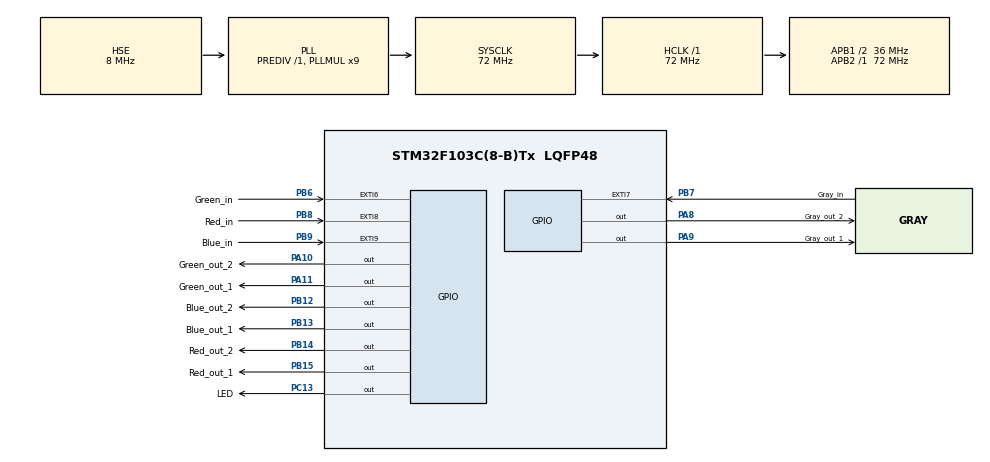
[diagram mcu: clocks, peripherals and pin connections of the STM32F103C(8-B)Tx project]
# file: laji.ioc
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Mcu.Family=STM32F1
Mcu.Name=STM32F103C(8-B)Tx
Mcu.Package=LQFP48
NVIC.EXTI9_5_IRQn=true\:0\:0\:false\:false\:true\:true\:true
NVIC.PriorityGroup=NVIC_PRIORITYGROUP_4
PA10.GPIO_Label=Green_out_2
PA10.Signal=GPIO_Output
PA11.GPIO_Label=Green_out_1
PA11.Signal=GPIO_Output
PA8.GPIO_Label=Gray_out_2
PA8.Signal=GPIO_Output
PA9.GPIO_Label=Gray_out_1
PA9.Signal=GPIO_Output
PB12.GPIO_Label=Blue_out_2
PB12.Signal=GPIO_Output
PB13.GPIO_Label=Blue_out_1
PB13.Signal=GPIO_Output
PB14.GPIO_Label=Red_out_2
PB14.Signal=GPIO_Output
PB15.GPIO_Label=Red_out_1
PB15.Signal=GPIO_Output
PB6.GPIO_Label=Green_in
PB6.Signal=GPXTI6
PB7.GPIO_Label=Gray_in
PB7.Signal=GPXTI7
PB8.GPIO_Label=Red_in
PB8.Signal=GPXTI8
PB9.GPIO_Label=Blue_in
PB9.Signal=GPXTI9
PC13-TAMPER-RTC.GPIO_Label=LED
PC13-TAMPER-RTC.Signal=GPIO_Output
PD0-OSC_IN.Mode=HSE-External-Oscillator
PD0-OSC_IN.Signal=RCC_OSC_IN
PD1-OSC_OUT.Mode=HSE-External-Oscillator
PD1-OSC_OUT.Signal=RCC_OSC_OUT
ProjectManager.HeapSize=0x200
ProjectManager.StackSize=0x400
ProjectManager.TargetToolchain=MDK-ARM V5
RCC.AHBFreq_Value=72000000
RCC.APB1CLKDivider=RCC_HCLK_DIV2
RCC.APB1Freq_Value=36000000
RCC.APB1TimFreq_Value=72000000
RCC.APB2Freq_Value=72000000
RCC.APB2TimFreq_Value=72000000
RCC.HCLKFreq_Value=72000000
RCC.PLLMUL=RCC_PLL_MUL9
RCC.PLLSourceVirtual=RCC_PLLSOURCE_HSE
RCC.SYSCLKFreq_VALUE=72000000
RCC.SYSCLKSource=RCC_SYSCLKSOURCE_PLLCLK
RCC.USBFreq_Value=72000000
VP_SYS_VS_ND.Mode=No_Debug
board=custom

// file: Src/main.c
/* USER CODE BEGIN Header */
/**
  ******************************************************************************
  * @file           : main.c
  * @brief          : Main program body
  ******************************************************************************
  * @attention
  *
  * <h2><center>&copy; Copyright (c) 2020 STMicroelectronics.
  * All rights reserved.</center></h2>
  *
  * This software component is licensed by ST under BSD 3-Clause license,
  * the "License"; You may not use this file except in compliance with the
  * License. You may obtain a copy of the License at:
  *                        opensource.org/licenses/BSD-3-Clause
  *
  ******************************************************************************
  */
/* USER CODE END Header */

#include "main.h"

/* USER CODE BEGIN PD */
#define STATUS_NULL 0
#define STATUS_OPEN 1
#define STATUS_OPENING 2
#define STATUS_OPENED 3
#define STATUS_CLOSE 4
#define STATUS_CLOSING 5
#define STATUS_CLOSED 6
#define STATUS_COUNTING 7
#define STATUS_COUNTED 8

#define OPEN_CNT 50
#define CLOSE_CNT 50
#define WAIT_CNT 5000

/* USER CODE END PD */

/* USER CODE BEGIN PV */
int green_status = STATUS_NULL;
int gray_status = STATUS_NULL;
int red_status = STATUS_NULL;
int blue_status = STATUS_NULL;

int green_open_cnt = 0;
int gray_open_cnt = 0;
int red_open_cnt = 0;
int blue_open_cnt = 0;

int green_wait_cnt = 0;
int gray_wait_cnt = 0;
int red_wait_cnt = 0;
int blue_wait_cnt = 0;

int green_close_cnt = 0;
int gray_close_cnt = 0;
int red_close_cnt = 0;
int blue_close_cnt = 0;
int can_control = 0;

/* USER CODE END PV */

void SystemClock_Config(void);
static void MX_GPIO_Init(void);

int main(void)
{
  /* USER CODE BEGIN 1 */
//	int led_cnt = 0;

  /* USER CODE END 1 */

  /* MCU Configuration--------------------------------------------------------*/

  /* Reset of all peripherals, Initializes the Flash interface and the Systick. */
  HAL_Init();

  /* Configure the system clock */
  SystemClock_Config();

  /* Initialize all configured peripherals */
  MX_GPIO_Init();
  /* USER CODE BEGIN 2 */
	HAL_Delay(1000);
		can_control = 1;

  /* USER CODE END 2 */

  /* Infinite loop */
  while (1)
  {

    /* USER CODE BEGIN 3 */

//		if (led_cnt++ >= 500)
//		{
//			led_cnt = 0;
//			//HAL_GPIO_TogglePin(LED_GPIO_Port,LED_Pin);
//		}
		//green
		HAL_Delay(1);
		if (green_status != STATUS_NULL)
		{
			if (green_status == STATUS_OPEN)
			{
				HAL_GPIO_WritePin(Green_out_1_GPIO_Port,Green_out_1_Pin,GPIO_PIN_SET);
				HAL_GPIO_WritePin(Green_out_2_GPIO_Port,Green_out_2_Pin,GPIO_PIN_RESET);
				green_status = STATUS_OPENING;
				green_open_cnt = 0;
			}else if (green_status == STATUS_OPENING)
			{
				if (green_open_cnt ++ >= OPEN_CNT)
				{
					green_status = STATUS_OPENED;
				}
			}else if (green_status == STATUS_OPENED)
			{
				HAL_GPIO_WritePin(Green_out_1_GPIO_Port,Green_out_1_Pin,GPIO_PIN_RESET);
				HAL_GPIO_WritePin(Green_out_2_GPIO_Port,Green_out_2_Pin,GPIO_PIN_RESET);
				green_status = STATUS_COUNTING;
				green_wait_cnt = 0;
			}else if (green_status == STATUS_COUNTING)
			{
				if (green_wait_cnt++ >= WAIT_CNT)
				{
					green_status = STATUS_COUNTED;
				}
			}else if (green_status == STATUS_COUNTED)
			{
				green_status = STATUS_CLOSE;
			}else if (green_status == STATUS_CLOSE)
			{
				HAL_GPIO_WritePin(Green_out_1_GPIO_Port,Green_out_1_Pin,GPIO_PIN_RESET);
				HAL_GPIO_WritePin(Green_out_2_GPIO_Port,Green_out_2_Pin,GPIO_PIN_SET);
				green_status = STATUS_CLOSING;
				green_close_cnt = 0;
			}else if (green_status == STATUS_CLOSING)
			{
				if (green_close_cnt++ > CLOSE_CNT)
				{
					green_status = STATUS_CLOSED;
				}
			}else if (green_status == STATUS_CLOSED)
			{
				HAL_GPIO_WritePin(Green_out_1_GPIO_Port,Green_out_1_Pin,GPIO_PIN_RESET);
				HAL_GPIO_WritePin(Green_out_2_GPIO_Port,Green_out_2_Pin,GPIO_PIN_RESET);
				green_status = STATUS_NULL;
			}
		}

		//gray

		if (gray_status != STATUS_NULL)
		{
			if (gray_status == STATUS_OPEN)
			{
				HAL_GPIO_WritePin(Gray_out_1_GPIO_Port,Gray_out_1_Pin,GPIO_PIN_SET);
				HAL_GPIO_WritePin(Gray_out_2_GPIO_Port,Gray_out_2_Pin,GPIO_PIN_RESET);
				gray_status = STATUS_OPENING;
				gray_open_cnt = 0;
			}else if (gray_status == STATUS_OPENING)
			{
				if (gray_open_cnt ++ >= OPEN_CNT)
				{
					gray_status = STATUS_OPENED;
				}
			}else if (gray_status == STATUS_OPENED)
			{
				HAL_GPIO_WritePin(Gray_out_1_GPIO_Port,Gray_out_1_Pin,GPIO_PIN_RESET);
				HAL_GPIO_WritePin(Gray_out_2_GPIO_Port,Gray_out_2_Pin,GPIO_PIN_RESET);
				gray_status = STATUS_COUNTING;
				gray_wait_cnt = 0;
			}else if (gray_status == STATUS_COUNTING)
			{
				if (gray_wait_cnt++ >= WAIT_CNT)
				{
					gray_status = STATUS_COUNTED;
				}
			}else if (gray_status == STATUS_COUNTED)
			{
				gray_status = STATUS_CLOSE;
			}else if (gray_status == STATUS_CLOSE)
			{
				HAL_GPIO_WritePin(Gray_out_1_GPIO_Port,Gray_out_1_Pin,GPIO_PIN_RESET);
				HAL_GPIO_WritePin(Gray_out_2_GPIO_Port,Gray_out_2_Pin,GPIO_PIN_SET);
				gray_status = STATUS_CLOSING;
				gray_close_cnt = 0;
			}else if (gray_status == STATUS_CLOSING)
			{
				if (gray_close_cnt++ > CLOSE_CNT)
				{
					gray_status = STATUS_CLOSED;
				}
			}else if (gray_status == STATUS_CLOSED)
			{
				HAL_GPIO_WritePin(Gray_out_1_GPIO_Port,Gray_out_1_Pin,GPIO_PIN_RESET);
				HAL_GPIO_WritePin(Gray_out_2_GPIO_Port,Gray_out_2_Pin,GPIO_PIN_RESET);
				gray_status = STATUS_NULL;
			}
		}
		// red
		if (red_status != STATUS_NULL)
		{
			if (red_status == STATUS_OPEN)
			{
				HAL_GPIO_WritePin(Red_out_1_GPIO_Port,Red_out_1_Pin,GPIO_PIN_SET);
				HAL_GPIO_WritePin(Red_out_2_GPIO_Port,Red_out_2_Pin,GPIO_PIN_RESET);
				red_status = STATUS_OPENING;
				red_open_cnt = 0;
			}else if (red_status == STATUS_OPENING)
			{
				if (red_open_cnt ++ >= OPEN_CNT)
				{
					red_status = STATUS_OPENED;
				}
			}else if (red_status == STATUS_OPENED)
			{
				HAL_GPIO_WritePin(Red_out_1_GPIO_Port,Red_out_1_Pin,GPIO_PIN_RESET);
				HAL_GPIO_WritePin(Red_out_2_GPIO_Port,Red_out_2_Pin,GPIO_PIN_RESET);
				red_status = STATUS_COUNTING;
				red_wait_cnt = 0;
			}else if (red_status == STATUS_COUNTING)
			{
				if (red_wait_cnt++ >= WAIT_CNT)
				{
					red_status = STATUS_COUNTED;
				}
			}else if (red_status == STATUS_COUNTED)
			{
				red_status = STATUS_CLOSE;
			}else if (red_status == STATUS_CLOSE)
			{
				HAL_GPIO_WritePin(Red_out_1_GPIO_Port,Red_out_1_Pin,GPIO_PIN_RESET);
				HAL_GPIO_WritePin(Red_out_2_GPIO_Port,Red_out_2_Pin,GPIO_PIN_SET);
				red_status = STATUS_CLOSING;
				red_close_cnt = 0;
			}else if (red_status == STATUS_CLOSING)
			{
				if (red_close_cnt++ > CLOSE_CNT)
				{
					red_status = STATUS_CLOSED;
				}
			}else if (red_status == STATUS_CLOSED)
			{
				HAL_GPIO_WritePin(Red_out_1_GPIO_Port,Red_out_1_Pin,GPIO_PIN_RESET);
				HAL_GPIO_WritePin(Red_out_2_GPIO_Port,Red_out_2_Pin,GPIO_PIN_RESET);
				red_status = STATUS_NULL;
			}
		}

		// blue
		if (blue_status != STATUS_NULL)
		{
			if (blue_status == STATUS_OPEN)
			{
				HAL_GPIO_WritePin(Blue_out_1_GPIO_Port,Blue_out_1_Pin,GPIO_PIN_SET);
				HAL_GPIO_WritePin(Blue_out_2_GPIO_Port,Blue_out_2_Pin,GPIO_PIN_RESET);
				blue_status = STATUS_OPENING;
				blue_open_cnt = 0;
			}else if (blue_status == STATUS_OPENING)
			{
				if (blue_open_cnt ++ >= OPEN_CNT)
				{
					blue_status = STATUS_OPENED;
				}
			}else if (blue_status == STATUS_OPENED)
			{
				HAL_GPIO_WritePin(Blue_out_1_GPIO_Port,Blue_out_1_Pin,GPIO_PIN_RESET);
				HAL_GPIO_WritePin(Blue_out_2_GPIO_Port,Blue_out_2_Pin,GPIO_PIN_RESET);
				blue_status = STATUS_COUNTING;
				blue_wait_cnt = 0;
			}else if (blue_status == STATUS_COUNTING)
			{
				if (blue_wait_cnt++ >= WAIT_CNT)
				{
					blue_status = STATUS_COUNTED;
				}
			}else if (blue_status == STATUS_COUNTED)
			{
				blue_status = STATUS_CLOSE;
			}else if (blue_status == STATUS_CLOSE)
			{
				HAL_GPIO_WritePin(Blue_out_1_GPIO_Port,Blue_out_1_Pin,GPIO_PIN_RESET);
				HAL_GPIO_WritePin(Blue_out_2_GPIO_Port,Blue_out_2_Pin,GPIO_PIN_SET);
				blue_status = STATUS_CLOSING;
				blue_close_cnt = 0;
			}else if (blue_status == STATUS_CLOSING)
			{
				if (blue_close_cnt++ > CLOSE_CNT)
				{
					blue_status = STATUS_CLOSED;
				}
			}else if (blue_status == STATUS_CLOSED)
			{
				HAL_GPIO_WritePin(Blue_out_1_GPIO_Port,Blue_out_1_Pin,GPIO_PIN_RESET);
				HAL_GPIO_WritePin(Blue_out_2_GPIO_Port,Blue_out_2_Pin,GPIO_PIN_RESET);
				blue_status = STATUS_NULL;
			}
		}
  }
  /* USER CODE END 3 */
}

void SystemClock_Config(void)
{
  RCC_OscInitTypeDef RCC_OscInitStruct = {0};
  RCC_ClkInitTypeDef RCC_ClkInitStruct = {0};

  /** Initializes the CPU, AHB and APB busses clocks
  */
  RCC_OscInitStruct.OscillatorType = RCC_OSCILLATORTYPE_HSE;
  RCC_OscInitStruct.HSEState = RCC_HSE_ON;
  RCC_OscInitStruct.HSEPredivValue = RCC_HSE_PREDIV_DIV1;
  RCC_OscInitStruct.HSIState = RCC_HSI_ON;
  RCC_OscInitStruct.PLL.PLLState = RCC_PLL_ON;
  RCC_OscInitStruct.PLL.PLLSource = RCC_PLLSOURCE_HSE;
  RCC_OscInitStruct.PLL.PLLMUL = RCC_PLL_MUL9;
  if (HAL_RCC_OscConfig(&RCC_OscInitStruct) != HAL_OK)
  {
    Error_Handler();
  }
  /** Initializes the CPU, AHB and APB busses clocks
  */
  RCC_ClkInitStruct.ClockType = RCC_CLOCKTYPE_HCLK|RCC_CLOCKTYPE_SYSCLK
                              |RCC_CLOCKTYPE_PCLK1|RCC_CLOCKTYPE_PCLK2;
  RCC_ClkInitStruct.SYSCLKSource = RCC_SYSCLKSOURCE_PLLCLK;
  RCC_ClkInitStruct.AHBCLKDivider = RCC_SYSCLK_DIV1;
  RCC_ClkInitStruct.APB1CLKDivider = RCC_HCLK_DIV2;
  RCC_ClkInitStruct.APB2CLKDivider = RCC_HCLK_DIV1;

  if (HAL_RCC_ClockConfig(&RCC_ClkInitStruct, FLASH_LATENCY_2) != HAL_OK)
  {
    Error_Handler();
  }
}

static void MX_GPIO_Init(void)
{
  GPIO_InitTypeDef GPIO_InitStruct = {0};

  /* GPIO Ports Clock Enable */
  __HAL_RCC_GPIOC_CLK_ENABLE();
  __HAL_RCC_GPIOD_CLK_ENABLE();
  __HAL_RCC_GPIOB_CLK_ENABLE();
  __HAL_RCC_GPIOA_CLK_ENABLE();

  /*Configure GPIO pin Output Level */
  HAL_GPIO_WritePin(LED_GPIO_Port, LED_Pin, GPIO_PIN_RESET);

  /*Configure GPIO pin Output Level */
  HAL_GPIO_WritePin(GPIOB, Blue_out_2_Pin|Blue_out_1_Pin|Red_out_2_Pin|Red_out_1_Pin, GPIO_PIN_RESET);

  /*Configure GPIO pin Output Level */
  HAL_GPIO_WritePin(GPIOA, Gray_out_2_Pin|Gray_out_1_Pin|Green_out_2_Pin|Green_out_1_Pin, GPIO_PIN_RESET);

  /*Configure GPIO pin : LED_Pin */
  GPIO_InitStruct.Pin = LED_Pin;
  GPIO_InitStruct.Mode = GPIO_MODE_OUTPUT_PP;
  GPIO_InitStruct.Pull = GPIO_NOPULL;
  GPIO_InitStruct.Speed = GPIO_SPEED_FREQ_LOW;
  HAL_GPIO_Init(LED_GPIO_Port, &GPIO_InitStruct);

  /*Configure GPIO pins : Blue_out_2_Pin Blue_out_1_Pin Red_out_2_Pin Red_out_1_Pin */
  GPIO_InitStruct.Pin = Blue_out_2_Pin|Blue_out_1_Pin|Red_out_2_Pin|Red_out_1_Pin;
  GPIO_InitStruct.Mode = GPIO_MODE_OUTPUT_PP;
  GPIO_InitStruct.Pull = GPIO_NOPULL;
  GPIO_InitStruct.Speed = GPIO_SPEED_FREQ_LOW;
  HAL_GPIO_Init(GPIOB, &GPIO_InitStruct);

  /*Configure GPIO pins : Gray_out_2_Pin Gray_out_1_Pin Green_out_2_Pin Green_out_1_Pin */
  GPIO_InitStruct.Pin = Gray_out_2_Pin|Gray_out_1_Pin|Green_out_2_Pin|Green_out_1_Pin;
  GPIO_InitStruct.Mode = GPIO_MODE_OUTPUT_PP;
  GPIO_InitStruct.Pull = GPIO_NOPULL;
  GPIO_InitStruct.Speed = GPIO_SPEED_FREQ_LOW;
  HAL_GPIO_Init(GPIOA, &GPIO_InitStruct);

  /*Configure GPIO pins : Green_in_Pin Gray_in_Pin Red_in_Pin Blue_in_Pin */
  GPIO_InitStruct.Pin = Green_in_Pin|Gray_in_Pin|Red_in_Pin|Blue_in_Pin;
  GPIO_InitStruct.Mode = GPIO_MODE_IT_RISING;
  GPIO_InitStruct.Pull = GPIO_NOPULL;
  HAL_GPIO_Init(GPIOB, &GPIO_InitStruct);

  /* EXTI interrupt init*/
  HAL_NVIC_SetPriority(EXTI9_5_IRQn, 0, 0);
  HAL_NVIC_EnableIRQ(EXTI9_5_IRQn);

}

/* USER CODE BEGIN 4 */
/**
  * ????: ??????????
  * ????: GPIO_Pin:????
  * ? ? ?: ?
  * ?    ?: ?
  */
void HAL_GPIO_EXTI_Callback(uint16_t GPIO_Pin)
{
  if(GPIO_Pin==Green_in_Pin)
  {
		if (can_control)
		{
			if(green_status == STATUS_NULL){
				green_status = STATUS_OPEN;
				green_open_cnt =0;
			}else if (green_status == STATUS_COUNTING){
				green_wait_cnt = 0;
			}
		}

    HAL_GPIO_TogglePin(LED_GPIO_Port,LED_Pin);
    __HAL_GPIO_EXTI_CLEAR_IT(Green_in_Pin);
  }else if(GPIO_Pin==Gray_in_Pin)
  {
		if (can_control)
		{
			if(gray_status == STATUS_NULL){
				gray_status = STATUS_OPEN;
				gray_open_cnt =0;
			}else if (gray_status == STATUS_COUNTING){
				gray_wait_cnt = 0;
			}
		}

    HAL_GPIO_TogglePin(LED_GPIO_Port,LED_Pin);
    __HAL_GPIO_EXTI_CLEAR_IT(Gray_in_Pin);
  }else if(GPIO_Pin==Red_in_Pin)
  {
		if (can_control)
		{
			if(red_status == STATUS_NULL){
				red_status = STATUS_OPEN;
				red_open_cnt =0;
			}else if (red_status == STATUS_COUNTING){
				red_wait_cnt = 0;
			}
		}
    HAL_GPIO_TogglePin(LED_GPIO_Port,LED_Pin);
    __HAL_GPIO_EXTI_CLEAR_IT(Red_in_Pin);
  }else if(GPIO_Pin==Blue_in_Pin)
  {
		if (can_control)
		{
			if(blue_status == STATUS_NULL){
				blue_status = STATUS_OPEN;
				blue_open_cnt =0;
			}else if (blue_status == STATUS_COUNTING){
				blue_wait_cnt = 0;
			}
		}

    HAL_GPIO_TogglePin(LED_GPIO_Port,LED_Pin);
    __HAL_GPIO_EXTI_CLEAR_IT(Blue_in_Pin);
  }

}

/* USER CODE END 4 */

void Error_Handler(void)
{
}

/************************ (C) COPYRIGHT STMicroelectronics *****END OF FILE****/
